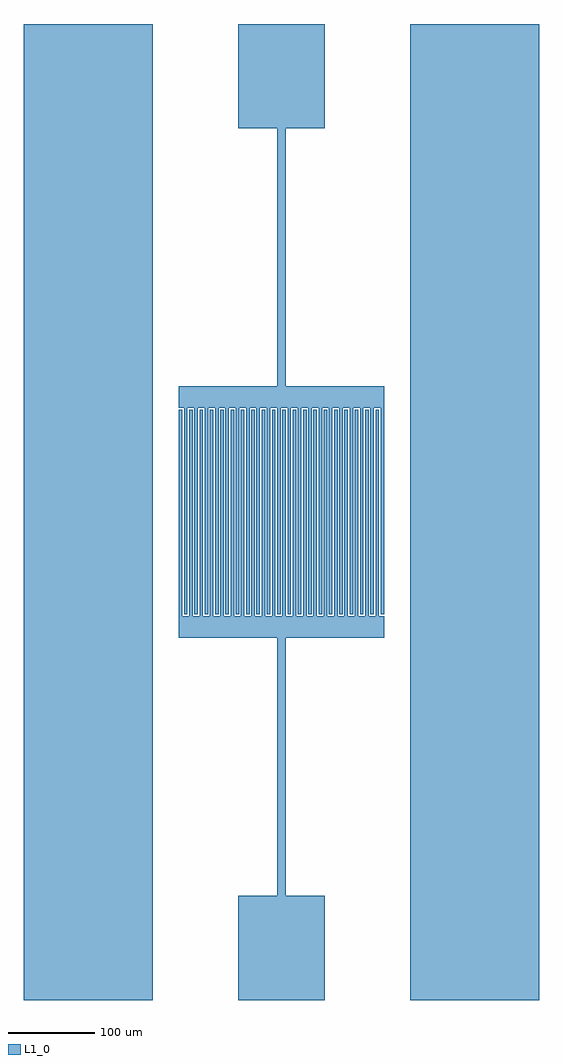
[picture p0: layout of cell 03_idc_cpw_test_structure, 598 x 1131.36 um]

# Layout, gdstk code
import gdstk
lib = gdstk.Library(unit=1e-6, precision=1e-09)
def R(c, l, rs):  # rectangles x0, y0, x1, y1
    for r in rs: c.add(gdstk.rectangle(r[:2], r[2:], *l))
def A(c, l, x, y, w, h, nx, ny, dx, dy):  # array of equal rectangles
    R(c, l, [(x+i*dx, y+j*dy, x+i*dx+w, y+j*dy+h) for i in range(nx) for j in range(ny)])
L1_0 = (1, 0)

c_03_idc_cpw_test_structur = lib.new_cell('03_idc_cpw_test_structure')
A(c_03_idc_cpw_test_structur, L1_0, 30, 445, 4, 239.362, 20, 1, 12, 0)
A(c_03_idc_cpw_test_structur, L1_0, 36, 447, 4, 239.362, 20, 1, 12, 0)
R(c_03_idc_cpw_test_structur, L1_0, [(-150,0,0,1131.362), (99,0,199,121), (298,0,448,1131.362), (144,120,154,421), (30,420,268,445), (30,686.362,268,711.362), (144,710.362,154,1011.362), (99,1010.362,199,1131.362)])

lib.write_gds('03_idc_cpw_test_structure.gds')
